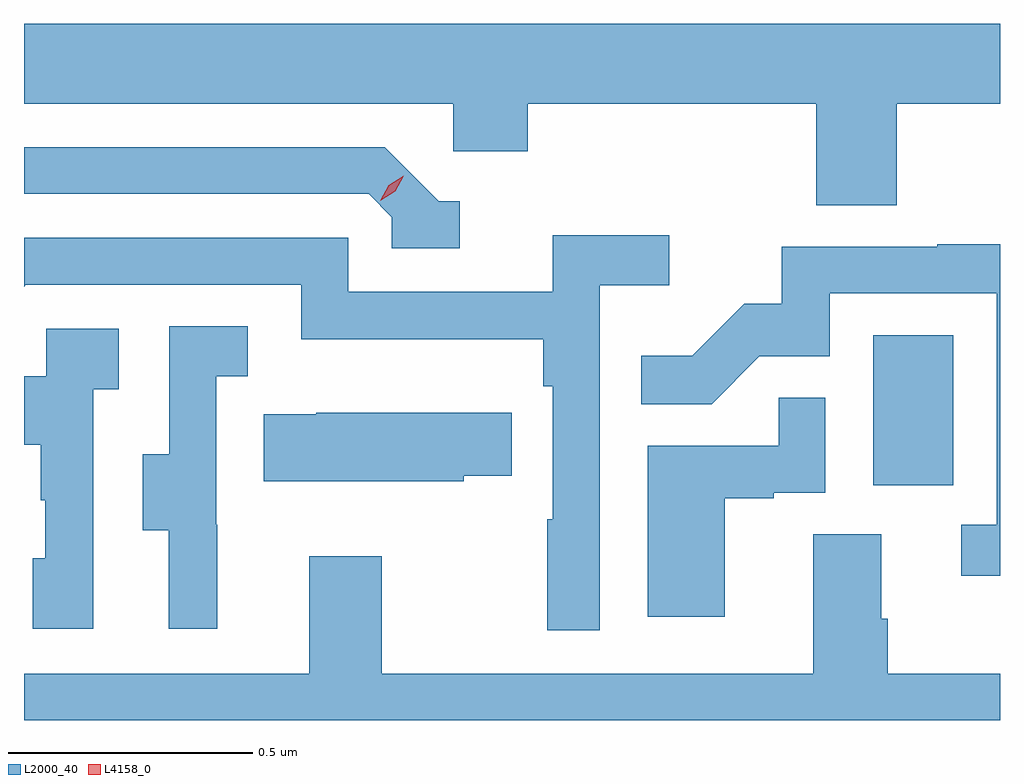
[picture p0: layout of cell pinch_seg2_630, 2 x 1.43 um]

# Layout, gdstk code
import gdstk
lib = gdstk.Library(unit=1e-6, precision=1e-09)
def R(c, l, rs):  # rectangles x0, y0, x1, y1
    for r in rs: c.add(gdstk.rectangle(r[:2], r[2:], *l))
def P(c, l, *ps):  # polygons
    for p in ps: c.add(gdstk.Polygon(p, *l))
L2000_40 = (2000, 40)
L4158_0 = (4158, 0)

pinch_seg2_630 = lib.new_cell('pinch_seg2_630')
R(pinch_seg2_630, L2000_40, [(1073.786,606.894,1073.95,607.201)])
P(pinch_seg2_630, L2000_40, [(1073.834,607.676),(1074.046,607.676),(1074.046,607.84),(1072.046,607.84),(1072.046,607.676),(1072.926,607.676),(1072.926,607.578),(1073.078,607.578),(1073.078,607.676),(1073.669,607.676),(1073.669,607.468),(1073.834,607.468)],
  [(1072.939,607.476),(1072.896,607.476),(1072.785,607.587),(1072.046,607.587),(1072.046,607.491),(1072.752,607.491),(1072.8,607.443),(1072.8,607.38),(1072.939,607.38)],
  [(1073.226,607.304),(1073.368,607.304),(1073.368,607.406),(1073.129,607.406),(1073.129,607.29),(1072.71,607.29),(1072.71,607.401),(1072.046,607.401),(1072.046,607.301),(1072.05,607.305),(1072.614,607.305),(1072.614,607.193),(1073.11,607.193),(1073.11,607.097),(1073.13,607.097),(1073.13,606.824),(1073.118,606.824),(1073.118,606.597),(1073.226,606.597)],
  [(1074.046,607.388),(1073.917,607.388),(1073.917,607.383),(1073.599,607.383),(1073.599,607.266),(1073.522,607.266),(1073.415,607.159),(1073.311,607.159),(1073.311,607.06),(1073.455,607.06),(1073.553,607.158),(1073.697,607.158),(1073.697,607.287),(1074.039,607.287),(1074.039,606.813),(1073.967,606.813),(1073.967,606.708),(1074.046,606.708)],
  [(1072.442,606.813),(1072.44,606.813),(1072.44,607.117),(1072.504,607.117),(1072.504,607.22),(1072.344,607.22),(1072.344,606.957),(1072.289,606.957),(1072.289,606.802),(1072.343,606.802),(1072.343,606.6),(1072.442,606.6)],
  [(1072.188,607.091),(1072.24,607.091),(1072.24,607.215),(1072.092,607.215),(1072.092,607.117),(1072.046,607.117),(1072.046,606.977),(1072.08,606.977),(1072.08,606.863),(1072.09,606.863),(1072.09,606.744),(1072.064,606.744),(1072.064,606.6),(1072.188,606.6)],
  [(1073.482,606.867),(1073.582,606.867),(1073.582,606.879),(1073.688,606.879),(1073.688,607.073),(1073.593,607.073),(1073.593,606.975),(1073.324,606.975),(1073.324,606.624),(1073.482,606.624)],
  [(1072.947,606.913),(1073.045,606.913),(1073.045,607.042),(1072.645,607.042),(1072.645,607.039),(1072.537,607.039),(1072.537,606.902),(1072.947,606.902)],
  [(1074.046,606.508),(1073.816,606.508),(1073.816,606.62),(1073.803,606.62),(1073.803,606.794),(1073.663,606.794),(1073.663,606.508),(1072.779,606.508),(1072.779,606.748),(1072.631,606.748),(1072.631,606.508),(1072.046,606.508),(1072.046,606.412),(1074.046,606.412)])
P(pinch_seg2_630, L4158_0, [(1072.776,607.477),(1072.776,607.477),(1072.793,607.509),(1072.824,607.528),(1072.824,607.528),(1072.824,607.528),(1072.807,607.496),(1072.776,607.477)])

lib.write_gds('pinch_seg2_630.gds')
